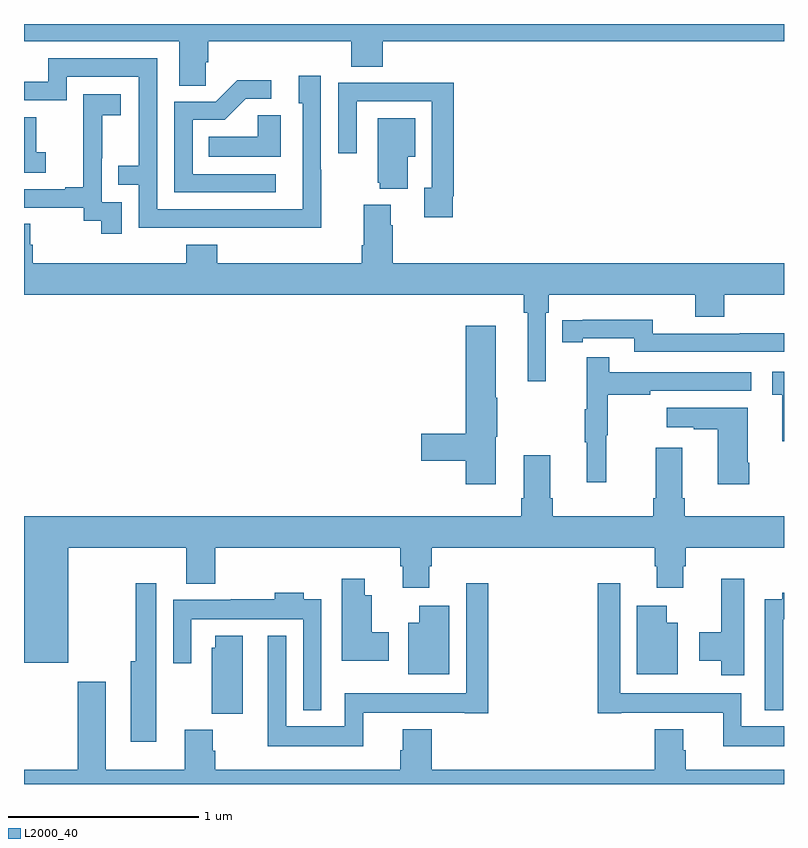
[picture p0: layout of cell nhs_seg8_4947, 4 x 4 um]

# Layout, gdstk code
import gdstk
lib = gdstk.Library(unit=1e-6, precision=1e-09)
def P(c, l, *ps):  # polygons
    for p in ps: c.add(gdstk.Polygon(p, *l))
L2000_40 = (2000, 40)

nhs_seg8_4947 = lib.new_cell('nhs_seg8_4947')
P(nhs_seg8_4947, L2000_40, [(409.956,1141.699),(409.97,1141.699),(409.97,1141.808),(410.723,1141.808),(410.723,1141.675),(410.888,1141.675),(410.888,1141.808),(413,1141.808),(413,1141.9),(409,1141.9),(409,1141.808),(409.817,1141.808),(409.817,1141.576),(409.956,1141.576)],
  [(410.565,1141.133),(410.562,1141.133),(410.562,1141.627),(410.447,1141.627),(410.447,1141.482),(410.466,1141.482),(410.466,1140.924),(409.701,1140.924),(409.701,1141.719),(409.127,1141.719),(409.127,1141.596),(409,1141.596),(409,1141.5),(409.224,1141.5),(409.224,1141.623),(409.605,1141.623),(409.605,1141.154),(409.495,1141.154),(409.495,1141.053),(409.605,1141.053),(409.605,1140.828),(410.101,1140.828),(410.101,1140.827),(410.565,1140.827)],
  [(410.326,1141.11),(409.887,1141.11),(409.887,1141.395),(410.056,1141.395),(410.167,1141.506),(410.302,1141.506),(410.302,1141.604),(410.123,1141.604),(410.01,1141.491),(409.791,1141.491),(409.791,1141.014),(410.326,1141.014)],
  [(411.256,1140.994),(411.263,1140.994),(411.263,1141.592),(410.971,1141.592),(410.971,1141.59),(410.655,1141.59),(410.655,1141.221),(410.751,1141.221),(410.751,1141.494),(411.147,1141.494),(411.147,1141.038),(411.107,1141.038),(411.107,1140.882),(411.256,1140.882)],
  [(409.515,1140.963),(409.41,1140.963),(409.41,1141.193),(409.412,1141.193),(409.412,1141.421),(409.51,1141.421),(409.51,1141.531),(409.312,1141.531),(409.312,1141.325),(409.313,1141.325),(409.313,1141.042),(409.217,1141.042),(409.217,1141.029),(409,1141.029),(409,1140.933),(409.314,1140.933),(409.314,1140.865),(409.407,1140.865),(409.407,1140.795),(409.515,1140.795)],
  [(410.35,1141.421),(410.229,1141.421),(410.229,1141.306),(409.972,1141.306),(409.972,1141.202),(410.35,1141.202)],
  [(409.114,1141.225),(409.065,1141.225),(409.065,1141.41),(409,1141.41),(409,1141.116),(409.114,1141.116)],
  [(411.019,1141.202),(411.058,1141.202),(411.058,1141.405),(410.861,1141.405),(410.861,1141.065),(410.873,1141.065),(410.873,1141.034),(411.019,1141.034)],
  [(411.747,1140.38),(411.761,1140.38),(411.761,1140.476),(412.532,1140.476),(412.532,1140.359),(412.685,1140.359),(412.685,1140.476),(413,1140.476),(413,1140.64),(410.942,1140.64),(410.942,1140.842),(410.929,1140.842),(410.929,1140.949),(410.789,1140.949),(410.789,1140.736),(410.777,1140.736),(410.777,1140.64),(410.018,1140.64),(410.018,1140.739),(409.853,1140.739),(409.853,1140.64),(409.046,1140.64),(409.046,1140.738),(409.033,1140.738),(409.033,1140.848),(409,1140.848),(409,1140.476),(411.631,1140.476),(411.631,1140.38),(411.65,1140.38),(411.65,1140.021),(411.747,1140.021)],
  [(413,1140.272),(412.768,1140.272),(412.768,1140.27),(412.308,1140.27),(412.308,1140.343),(411.94,1140.343),(411.94,1140.342),(411.832,1140.342),(411.832,1140.226),(411.94,1140.226),(411.94,1140.246),(412.212,1140.246),(412.212,1140.174),(413,1140.174)],
  [(411.484,1139.727),(411.492,1139.727),(411.492,1139.933),(411.484,1139.933),(411.484,1140.313),(411.326,1140.313),(411.326,1139.744),(411.09,1139.744),(411.09,1139.602),(411.326,1139.602),(411.326,1139.478),(411.484,1139.478)],
  [(412.064,1139.736),(412.072,1139.736),(412.072,1139.95),(412.295,1139.95),(412.295,1139.97),(412.828,1139.97),(412.828,1140.066),(412.079,1140.066),(412.079,1140.145),(411.962,1140.145),(411.962,1139.873),(411.951,1139.873),(411.951,1139.699),(411.962,1139.699),(411.962,1139.487),(412.064,1139.487)],
  [(413,1140.07),(412.938,1140.07),(412.938,1139.949),(412.991,1139.949),(412.991,1139.703),(413,1139.703)],
  [(412.818,1139.59),(412.81,1139.59),(412.81,1139.881),(412.383,1139.881),(412.383,1139.777),(412.526,1139.777),(412.526,1139.767),(412.652,1139.767),(412.652,1139.478),(412.818,1139.478)],
  [(409.234,1139.144),(409.853,1139.144),(409.853,1138.955),(410.006,1138.955),(410.006,1139.144),(410.981,1139.144),(410.981,1139.046),(410.993,1139.046),(410.993,1138.932),(411.133,1138.932),(411.133,1139.046),(411.146,1139.046),(411.146,1139.144),(412.319,1139.144),(412.319,1139.046),(412.331,1139.046),(412.331,1138.932),(412.471,1138.932),(412.471,1139.046),(412.484,1139.046),(412.484,1139.144),(413,1139.144),(413,1139.308),(412.478,1139.308),(412.478,1139.404),(412.465,1139.404),(412.465,1139.671),(412.325,1139.671),(412.325,1139.404),(412.313,1139.404),(412.313,1139.308),(411.782,1139.308),(411.782,1139.404),(411.769,1139.404),(411.769,1139.629),(411.629,1139.629),(411.629,1139.404),(411.617,1139.404),(411.617,1139.308),(409,1139.308),(409,1138.538),(409.234,1138.538)],
  [(410.92,1138.698),(410.83,1138.698),(410.83,1138.894),(410.794,1138.894),(410.794,1138.981),(410.672,1138.981),(410.672,1138.55),(410.92,1138.55)],
  [(412.792,1138.981),(412.67,1138.981),(412.67,1138.698),(412.553,1138.698),(412.553,1138.55),(412.67,1138.55),(412.67,1138.473),(412.792,1138.473)],
  [(413,1138.204),(412.776,1138.204),(412.776,1138.378),(412.137,1138.378),(412.137,1138.957),(412.021,1138.957),(412.021,1138.272),(412.144,1138.272),(412.144,1138.274),(412.679,1138.274),(412.679,1138.1),(413,1138.1)],
  [(409.696,1138.442),(409.695,1138.442),(409.695,1138.957),(409.587,1138.957),(409.587,1138.546),(409.562,1138.546),(409.562,1138.122),(409.696,1138.122)],
  [(410.786,1138.274),(411.32,1138.274),(411.32,1138.272),(411.443,1138.272),(411.443,1138.957),(411.327,1138.957),(411.327,1138.378),(410.688,1138.378),(410.688,1138.204),(410.379,1138.204),(410.379,1138.681),(410.282,1138.681),(410.282,1138.1),(410.786,1138.1)],
  [(410.565,1138.873),(410.473,1138.873),(410.473,1138.906),(410.321,1138.906),(410.321,1138.873),(410.089,1138.873),(410.089,1138.87),(409.785,1138.87),(409.785,1138.536),(409.881,1138.536),(409.881,1138.766),(410.469,1138.766),(410.469,1138.289),(410.565,1138.289)],
  [(412.995,1138.766),(413,1138.766),(413,1138.906),(412.991,1138.906),(412.991,1138.873),(412.899,1138.873),(412.899,1138.289),(412.995,1138.289)],
  [(411.238,1138.837),(411.08,1138.837),(411.08,1138.75),(411.023,1138.75),(411.023,1138.478),(411.238,1138.478)],
  [(412.441,1138.75),(412.384,1138.75),(412.384,1138.837),(412.226,1138.837),(412.226,1138.478),(412.441,1138.478)],
  [(410.152,1138.681),(410.006,1138.681),(410.006,1138.617),(409.988,1138.617),(409.988,1138.27),(410.152,1138.27)],
  [(413,1137.976),(412.484,1137.976),(412.484,1138.077),(412.471,1138.077),(412.471,1138.189),(412.319,1138.189),(412.319,1137.976),(411.146,1137.976),(411.146,1138.189),(410.993,1138.189),(410.993,1138.077),(410.981,1138.077),(410.981,1137.976),(410.006,1137.976),(410.006,1138.076),(409.993,1138.076),(409.993,1138.185),(409.846,1138.185),(409.846,1137.976),(409.429,1137.976),(409.429,1138.438),(409.282,1138.438),(409.282,1137.976),(409,1137.976),(409,1137.9),(413,1137.9)])

lib.write_gds('nhs_seg8_4947.gds')
